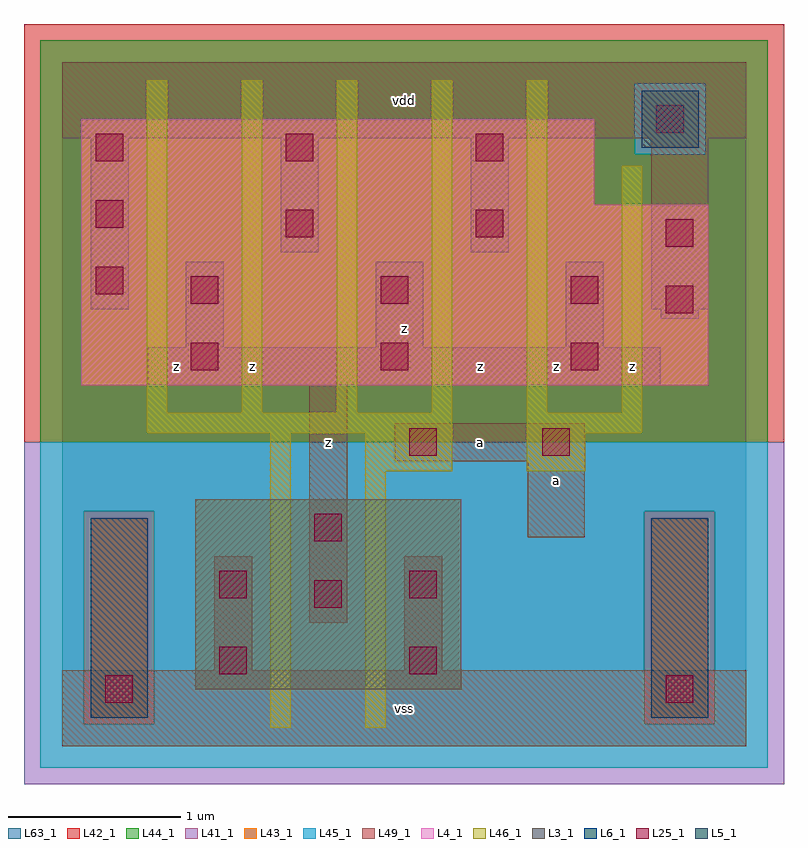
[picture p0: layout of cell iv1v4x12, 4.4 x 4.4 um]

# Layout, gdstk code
import gdstk
lib = gdstk.Library(unit=1e-6, precision=1e-09)
def R(c, l, rs):  # rectangles x0, y0, x1, y1
    for r in rs: c.add(gdstk.rectangle(r[:2], r[2:], *l))
def A(c, l, x, y, w, h, nx, ny, dx, dy):  # array of equal rectangles
    R(c, l, [(x+i*dx, y+j*dy, x+i*dx+w, y+j*dy+h) for i in range(nx) for j in range(ny)])
L3_1 = (3, 1)
L4_1 = (4, 1)
L5_1 = (5, 1)
L6_1 = (6, 1)
L25_1 = (25, 1)
L41_1 = (41, 1)
L42_1 = (42, 1)
L43_1 = (43, 1)
L44_1 = (44, 1)
L45_1 = (45, 1)
L46_1 = (46, 1)
L49_1 = (49, 1)
L63_1 = (63, 1)

iv1v4x12 = lib.new_cell('iv1v4x12')
R(iv1v4x12, L3_1, [(0.77,0.33,2.31,1.43)])
R(iv1v4x12, L4_1, [(0.11,2.09,3.74,3.135), (0.11,3.135,3.08,3.63)])
R(iv1v4x12, L5_1, [(3.355,3.465,3.685,3.795)])
R(iv1v4x12, L6_1, [(0.165,0.165,0.495,1.32), (3.41,0.165,3.74,1.32)])
A(iv1v4x12, L25_1, 0.745, 2.175, 0.16, 0.16, 3, 2, 1.1, 0.385)
A(iv1v4x12, L25_1, 0.195, 3.385, 0.16, 0.16, 3, 1, 1.1, 0)
R(iv1v4x12, L25_1, [(0.25,0.25,0.41,0.41), (3.495,0.25,3.655,0.41), (0.91,0.415,1.07,0.575), (2.01,0.415,2.17,0.575), (1.46,0.8,1.62,0.96), (0.91,0.855,1.07,1.015), (2.01,0.855,2.17,1.015), (1.46,1.185,1.62,1.345), (2.01,1.68,2.17,1.84), (2.78,1.68,2.94,1.84), (3.495,2.505,3.655,2.665), (0.195,2.615,0.355,2.775), (3.495,2.89,3.655,3.05), (1.295,2.945,1.455,3.105), (2.395,2.945,2.555,3.105), (0.195,3,0.355,3.16), (3.44,3.55,3.6,3.71)])
R(iv1v4x12, L41_1, [(-0.22,-0.22,4.18,1.76)])
R(iv1v4x12, L42_1, [(-0.22,1.76,4.18,4.18)])
R(iv1v4x12, L43_1, [(0.165,0.165,0.495,1.32), (3.41,0.165,3.74,1.32), (0.77,0.33,2.31,1.43), (0.11,2.09,3.74,3.135), (0.11,3.135,3.08,3.63), (3.355,3.465,3.685,3.795)])
R(iv1v4x12, L44_1, [(0.125,0.125,0.535,1.36), (3.37,0.125,3.78,1.36), (-0.125,1.76,4.085,3.425), (-0.125,3.425,3.315,3.835), (3.725,3.425,4.085,3.835), (-0.125,3.835,4.085,4.085)])
R(iv1v4x12, L45_1, [(-0.125,-0.125,4.085,0.125), (-0.125,0.125,0.125,1.36), (0.535,0.125,3.37,1.36), (3.78,0.125,4.085,1.36), (-0.125,1.36,4.085,1.76), (3.315,3.425,3.725,3.835)])
A(iv1v4x12, L46_1, 0.49, 1.93, 0.12, 1.925, 5, 1, 0.55, 0)
R(iv1v4x12, L46_1, [(1.205,0.105,1.325,1.81), (1.755,0.105,1.875,1.59), (1.755,1.59,2.26,1.81), (2.69,1.59,3.03,1.81), (0.49,1.81,2.26,1.93), (2.69,1.81,3.36,1.93), (3.24,1.93,3.36,3.36)])
R(iv1v4x12, L49_1, [(0,0,3.96,0.44), (0.88,0.44,1.1,1.1), (1.98,0.44,2.2,1.1), (1.43,0.715,1.65,2.09), (2.695,1.21,3.025,1.65), (1.925,1.65,3.025,1.87), (0.495,2.09,3.465,2.31), (0.715,2.31,0.935,2.805), (1.815,2.31,2.09,2.805), (2.915,2.31,3.135,2.805), (3.465,2.475,3.685,2.53), (0.165,2.53,0.385,3.52), (3.41,2.53,3.74,3.52), (1.265,2.86,1.485,3.52), (2.365,2.86,2.585,3.52), (0,3.52,3.96,3.96)])
R(iv1v4x12, L63_1, [(0,0,3.96,3.96)])
iv1v4x12.add(gdstk.Label('z', (0.66,2.2), layer=49, texttype=1))
iv1v4x12.add(gdstk.Label('z', (1.54,1.76), layer=49, texttype=1))
iv1v4x12.add(gdstk.Label('z', (1.1,2.2), layer=49, texttype=1))
iv1v4x12.add(gdstk.Label('vss', (1.98,0.22), layer=49, texttype=1))
iv1v4x12.add(gdstk.Label('a', (2.42,1.76), layer=49, texttype=1))
iv1v4x12.add(gdstk.Label('a', (2.86,1.54), layer=49, texttype=1))
iv1v4x12.add(gdstk.Label('z', (2.42,2.2), layer=49, texttype=1))
iv1v4x12.add(gdstk.Label('z', (2.86,2.2), layer=49, texttype=1))
iv1v4x12.add(gdstk.Label('z', (1.98,2.42), layer=49, texttype=1))
iv1v4x12.add(gdstk.Label('vdd', (1.98,3.74), layer=49, texttype=1))
iv1v4x12.add(gdstk.Label('z', (3.3,2.2), layer=49, texttype=1))

lib.write_gds('iv1v4x12.gds')
